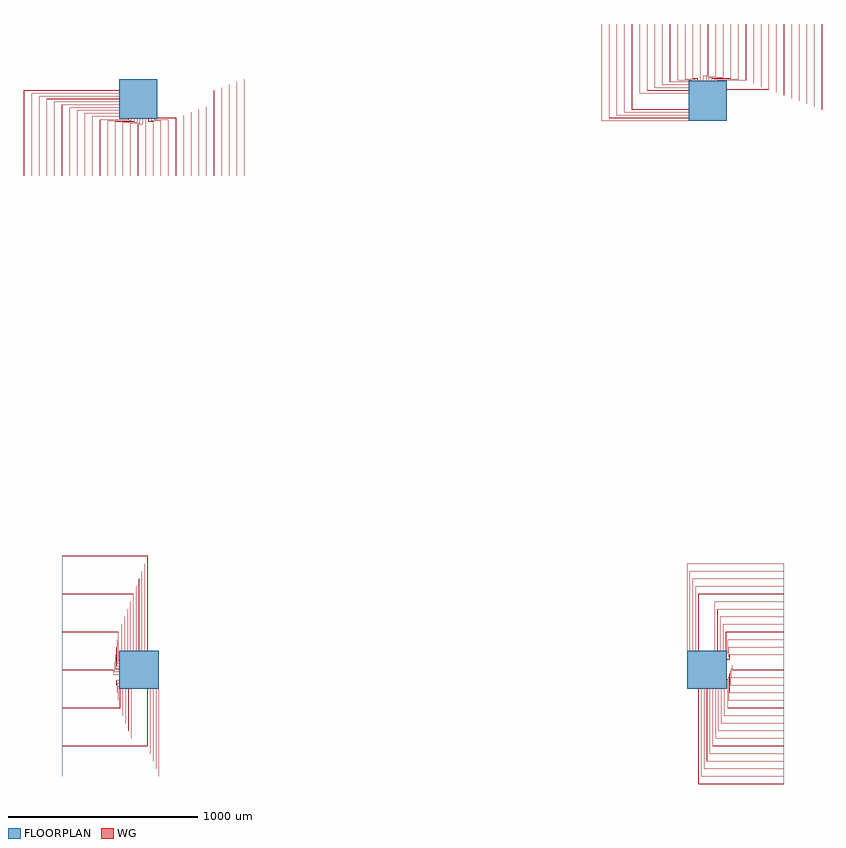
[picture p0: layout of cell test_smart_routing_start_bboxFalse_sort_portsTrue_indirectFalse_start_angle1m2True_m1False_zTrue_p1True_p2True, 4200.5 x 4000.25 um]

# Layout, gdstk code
import gdstk
lib = gdstk.Library(unit=1e-6, precision=1e-09)
def R(c, l, rs):  # rectangles x0, y0, x1, y1
    for r in rs: c.add(gdstk.rectangle(r[:2], r[2:], *l))
def P(c, l, *ps):  # polygons
    for p in ps: c.add(gdstk.Polygon(p, *l))
WG = (1, 0)
FLOORPLAN = (10, 0)

test_smart_routing_start = lib.new_cell('test_smart_routing_start_bboxFalse_sort_portsTrue_indirectFalse_start_angle1m2True_m1False_zTrue_p1True_p2True')
R(test_smart_routing_start, WG, [(-400,-40.25,-100,-40.05), (-400,-39.95,-100,-39.75), (3100,39.75,3400,39.95), (3100,40.05,3400,40.25), (39.75,2600,39.95,2900), (40.05,2600,40.25,2900), (2959.75,3100,2959.95,3400), (2960.05,3100,2960.25,3400)])
P(test_smart_routing_start, WG, [(3100,2950.05),(3100,2950.25),(3599.75,2950.25),(3599.75,3400),(3599.95,3400),(3599.95,2950.05)],
  [(3100,2949.75),(3100,2949.95),(3600.05,2949.95),(3600.05,3400),(3600.25,3400),(3600.25,2949.75)],
  [(3100,2965.05),(3100,2965.25),(3559.75,2965.25),(3559.75,3400),(3559.95,3400),(3559.95,2965.05)],
  [(3100,2964.75),(3100,2964.95),(3560.05,2964.95),(3560.05,3400),(3560.25,3400),(3560.25,2964.75)],
  [(3100,2980.05),(3100,2980.25),(3519.75,2980.25),(3519.75,3400),(3519.95,3400),(3519.95,2980.05)],
  [(3100,2979.75),(3100,2979.95),(3520.05,2979.95),(3520.05,3400),(3520.25,3400),(3520.25,2979.75)],
  [(3100,2995.05),(3100,2995.25),(3479.75,2995.25),(3479.75,3400),(3479.95,3400),(3479.95,2995.05)],
  [(3100,2994.75),(3100,2994.95),(3480.05,2994.95),(3480.05,3400),(3480.25,3400),(3480.25,2994.75)],
  [(3100,3010.05),(3100,3010.25),(3439.75,3010.25),(3439.75,3400),(3439.95,3400),(3439.95,3010.05)],
  [(3100,3009.75),(3100,3009.95),(3440.05,3009.95),(3440.05,3400),(3440.25,3400),(3440.25,3009.75)],
  [(3100,3025.05),(3100,3025.25),(3399.75,3025.25),(3399.75,3400),(3399.95,3400),(3399.95,3025.05)],
  [(3100,3024.75),(3100,3024.95),(3400.05,3024.95),(3400.05,3400),(3400.25,3400),(3400.25,3024.75)],
  [(3100,3040.05),(3100,3040.25),(3359.75,3040.25),(3359.75,3400),(3359.95,3400),(3359.95,3040.05)],
  [(3100,3039.75),(3100,3039.95),(3360.05,3039.95),(3360.05,3400),(3360.25,3400),(3360.25,3039.75)],
  [(3100,3055.05),(3100,3055.25),(3319.75,3055.25),(3319.75,3400),(3319.95,3400),(3319.95,3055.05)],
  [(3100,3054.75),(3100,3054.95),(3320.05,3054.95),(3320.05,3400),(3320.25,3400),(3320.25,3054.75)],
  [(3100,3070.05),(3100,3070.25),(3279.75,3070.25),(3279.75,3400),(3279.95,3400),(3279.95,3070.05)],
  [(3100,3069.75),(3100,3069.95),(3280.05,3069.95),(3280.05,3400),(3280.25,3400),(3280.25,3069.75)],
  [(3100,3085.05),(3100,3085.25),(3239.75,3085.25),(3239.75,3400),(3239.95,3400),(3239.95,3085.05)],
  [(3100,3084.75),(3100,3084.95),(3240.05,3084.95),(3240.05,3400),(3240.25,3400),(3240.25,3084.75)],
  [(3049.75,3100),(3049.75,3104.5),(3199.75,3104.5),(3199.75,3400),(3199.95,3400),(3199.95,3104.3),(3049.95,3104.3),(3049.95,3100)],
  [(3050.05,3100),(3050.05,3104.2),(3200.05,3104.2),(3200.05,3400),(3200.25,3400),(3200.25,3104),(3050.25,3104),(3050.25,3100)],
  [(3034.75,3100),(3034.75,3109),(3159.75,3109),(3159.75,3400),(3159.95,3400),(3159.95,3108.8),(3034.95,3108.8),(3034.95,3100)],
  [(3035.05,3100),(3035.05,3108.7),(3160.05,3108.7),(3160.05,3400),(3160.25,3400),(3160.25,3108.5),(3035.25,3108.5),(3035.25,3100)],
  [(3019.75,3100),(3019.75,3113.5),(3119.75,3113.5),(3119.75,3400),(3119.95,3400),(3119.95,3113.3),(3019.95,3113.3),(3019.95,3100)],
  [(3020.05,3100),(3020.05,3113.2),(3120.05,3113.2),(3120.05,3400),(3120.25,3400),(3120.25,3113),(3020.25,3113),(3020.25,3100)],
  [(3004.75,3100),(3004.75,3118),(3079.75,3118),(3079.75,3400),(3079.95,3400),(3079.95,3117.8),(3004.95,3117.8),(3004.95,3100)],
  [(3005.05,3100),(3005.05,3117.7),(3080.05,3117.7),(3080.05,3400),(3080.25,3400),(3080.25,3117.5),(3005.25,3117.5),(3005.25,3100)],
  [(2989.75,3100),(2989.75,3122.5),(3039.75,3122.5),(3039.75,3400),(3039.95,3400),(3039.95,3122.3),(2989.95,3122.3),(2989.95,3100)],
  [(2990.05,3100),(2990.05,3122.2),(3040.05,3122.2),(3040.05,3400),(3040.25,3400),(3040.25,3122),(2990.25,3122),(2990.25,3100)],
  [(2974.75,3100),(2974.75,3127),(2999.75,3127),(2999.75,3400),(2999.95,3400),(2999.95,3126.8),(2974.95,3126.8),(2974.95,3100)],
  [(2975.05,3100),(2975.05,3126.7),(3000.05,3126.7),(3000.05,3400),(3000.25,3400),(3000.25,3126.5),(2975.25,3126.5),(2975.25,3100)],
  [(2944.75,3100),(2944.75,3113),(2919.75,3113),(2919.75,3400),(2919.95,3400),(2919.95,3113.2),(2944.95,3113.2),(2944.95,3100)],
  [(2945.05,3100),(2945.05,3113.3),(2920.05,3113.3),(2920.05,3400),(2920.25,3400),(2920.25,3113.5),(2945.25,3113.5),(2945.25,3100)],
  [(2929.75,3100),(2929.75,3108.5),(2879.75,3108.5),(2879.75,3400),(2879.95,3400),(2879.95,3108.7),(2929.95,3108.7),(2929.95,3100)],
  [(2930.05,3100),(2930.05,3108.8),(2880.05,3108.8),(2880.05,3400),(2880.25,3400),(2880.25,3109),(2930.25,3109),(2930.25,3100)],
  [(2914.75,3100),(2914.75,3104),(2839.75,3104),(2839.75,3400),(2839.95,3400),(2839.95,3104.2),(2914.95,3104.2),(2914.95,3100)],
  [(2915.05,3100),(2915.05,3104.3),(2840.05,3104.3),(2840.05,3400),(2840.25,3400),(2840.25,3104.5),(2915.25,3104.5),(2915.25,3100)],
  [(2799.75,3094.75),(2799.75,3400),(2799.95,3400),(2799.95,3094.95),(2900,3094.95),(2900,3094.75)],
  [(2800.05,3095.05),(2800.05,3400),(2800.25,3400),(2800.25,3095.25),(2900,3095.25),(2900,3095.05)],
  [(2759.75,3079.75),(2759.75,3400),(2759.95,3400),(2759.95,3079.95),(2900,3079.95),(2900,3079.75)],
  [(2760.05,3080.05),(2760.05,3400),(2760.25,3400),(2760.25,3080.25),(2900,3080.25),(2900,3080.05)],
  [(2719.75,3064.75),(2719.75,3400),(2719.95,3400),(2719.95,3064.95),(2900,3064.95),(2900,3064.75)],
  [(2720.05,3065.05),(2720.05,3400),(2720.25,3400),(2720.25,3065.25),(2900,3065.25),(2900,3065.05)],
  [(2679.75,3049.75),(2679.75,3400),(2679.95,3400),(2679.95,3049.95),(2900,3049.95),(2900,3049.75)],
  [(2680.05,3050.05),(2680.05,3400),(2680.25,3400),(2680.25,3050.25),(2900,3050.25),(2900,3050.05)],
  [(2639.75,3034.75),(2639.75,3400),(2639.95,3400),(2639.95,3034.95),(2900,3034.95),(2900,3034.75)],
  [(2640.05,3035.05),(2640.05,3400),(2640.25,3400),(2640.25,3035.25),(2900,3035.25),(2900,3035.05)],
  [(2599.75,2949.75),(2599.75,3400),(2599.95,3400),(2599.95,2949.95),(2900,2949.95),(2900,2949.75)],
  [(2600.05,2950.05),(2600.05,3400),(2600.25,3400),(2600.25,2950.25),(2900,2950.25),(2900,2950.05)],
  [(2559.75,2934.75),(2559.75,3400),(2559.95,3400),(2559.95,2934.95),(2900,2934.95),(2900,2934.75)],
  [(2560.05,2935.05),(2560.05,3400),(2560.25,3400),(2560.25,2935.25),(2900,2935.25),(2900,2935.05)],
  [(2519.75,2919.75),(2519.75,3400),(2519.95,3400),(2519.95,2919.95),(2900,2919.95),(2900,2919.75)],
  [(2520.05,2920.05),(2520.05,3400),(2520.25,3400),(2520.25,2920.25),(2900,2920.25),(2900,2920.05)],
  [(2479.75,2904.75),(2479.75,3400),(2479.95,3400),(2479.95,2904.95),(2900,2904.95),(2900,2904.75)],
  [(2480.05,2905.05),(2480.05,3400),(2480.25,3400),(2480.25,2905.25),(2900,2905.25),(2900,2905.05)],
  [(2439.75,2889.75),(2439.75,3400),(2439.95,3400),(2439.95,2889.95),(2900,2889.95),(2900,2889.75)],
  [(2440.05,2890.05),(2440.05,3400),(2440.25,3400),(2440.25,2890.25),(2900,2890.25),(2900,2890.05)],
  [(-599.95,2600),(-599.95,3049.95),(-100,3049.95),(-100,3049.75),(-599.75,3049.75),(-599.75,2600)],
  [(-600.25,2600),(-600.25,3050.25),(-100,3050.25),(-100,3050.05),(-600.05,3050.05),(-600.05,2600)],
  [(-559.95,2600),(-559.95,3034.95),(-100,3034.95),(-100,3034.75),(-559.75,3034.75),(-559.75,2600)],
  [(-560.25,2600),(-560.25,3035.25),(-100,3035.25),(-100,3035.05),(-560.05,3035.05),(-560.05,2600)],
  [(-519.95,2600),(-519.95,3019.95),(-100,3019.95),(-100,3019.75),(-519.75,3019.75),(-519.75,2600)],
  [(-520.25,2600),(-520.25,3020.25),(-100,3020.25),(-100,3020.05),(-520.05,3020.05),(-520.05,2600)],
  [(-479.95,2600),(-479.95,3004.95),(-100,3004.95),(-100,3004.75),(-479.75,3004.75),(-479.75,2600)],
  [(-480.25,2600),(-480.25,3005.25),(-100,3005.25),(-100,3005.05),(-480.05,3005.05),(-480.05,2600)],
  [(-439.95,2600),(-439.95,2989.95),(-100,2989.95),(-100,2989.75),(-439.75,2989.75),(-439.75,2600)],
  [(-440.25,2600),(-440.25,2990.25),(-100,2990.25),(-100,2990.05),(-440.05,2990.05),(-440.05,2600)],
  [(-399.95,2600),(-399.95,2974.95),(-100,2974.95),(-100,2974.75),(-399.75,2974.75),(-399.75,2600)],
  [(-400.25,2600),(-400.25,2975.25),(-100,2975.25),(-100,2975.05),(-400.05,2975.05),(-400.05,2600)],
  [(-359.95,2600),(-359.95,2959.95),(-100,2959.95),(-100,2959.75),(-359.75,2959.75),(-359.75,2600)],
  [(-360.25,2600),(-360.25,2960.25),(-100,2960.25),(-100,2960.05),(-360.05,2960.05),(-360.05,2600)],
  [(-319.95,2600),(-319.95,2944.95),(-100,2944.95),(-100,2944.75),(-319.75,2944.75),(-319.75,2600)],
  [(-320.25,2600),(-320.25,2945.25),(-100,2945.25),(-100,2945.05),(-320.05,2945.05),(-320.05,2600)],
  [(-279.95,2600),(-279.95,2929.95),(-100,2929.95),(-100,2929.75),(-279.75,2929.75),(-279.75,2600)],
  [(-280.25,2600),(-280.25,2930.25),(-100,2930.25),(-100,2930.05),(-280.05,2930.05),(-280.05,2600)],
  [(-239.95,2600),(-239.95,2914.95),(-100,2914.95),(-100,2914.75),(-239.75,2914.75),(-239.75,2600)],
  [(-240.25,2600),(-240.25,2915.25),(-100,2915.25),(-100,2915.05),(-240.05,2915.05),(-240.05,2600)],
  [(-200.25,2600),(-200.25,2896),(-50.25,2896),(-50.25,2900),(-50.05,2900),(-50.05,2895.8),(-200.05,2895.8),(-200.05,2600)],
  [(-199.95,2600),(-199.95,2895.7),(-49.95,2895.7),(-49.95,2900),(-49.75,2900),(-49.75,2895.5),(-199.75,2895.5),(-199.75,2600)],
  [(-160.25,2600),(-160.25,2891.5),(-35.25,2891.5),(-35.25,2900),(-35.05,2900),(-35.05,2891.3),(-160.05,2891.3),(-160.05,2600)],
  [(-159.95,2600),(-159.95,2891.2),(-34.95,2891.2),(-34.95,2900),(-34.75,2900),(-34.75,2891),(-159.75,2891),(-159.75,2600)],
  [(-120.25,2600),(-120.25,2887),(-20.25,2887),(-20.25,2900),(-20.05,2900),(-20.05,2886.8),(-120.05,2886.8),(-120.05,2600)],
  [(-119.95,2600),(-119.95,2886.7),(-19.95,2886.7),(-19.95,2900),(-19.75,2900),(-19.75,2886.5),(-119.75,2886.5),(-119.75,2600)],
  [(-80.25,2600),(-80.25,2882.5),(-5.25,2882.5),(-5.25,2900),(-5.05,2900),(-5.05,2882.3),(-80.05,2882.3),(-80.05,2600)],
  [(-79.95,2600),(-79.95,2882.2),(-4.95,2882.2),(-4.95,2900),(-4.75,2900),(-4.75,2882),(-79.75,2882),(-79.75,2600)],
  [(-40.25,2600),(-40.25,2878),(9.75,2878),(9.75,2900),(9.95,2900),(9.95,2877.8),(-40.05,2877.8),(-40.05,2600)],
  [(-39.95,2600),(-39.95,2877.7),(10.05,2877.7),(10.05,2900),(10.25,2900),(10.25,2877.5),(-39.75,2877.5),(-39.75,2600)],
  [(-0.25,2600),(-0.25,2873.5),(24.75,2873.5),(24.75,2900),(24.95,2900),(24.95,2873.3),(-0.05,2873.3),(-0.05,2600)],
  [(0.05,2600),(0.05,2873.2),(25.05,2873.2),(25.05,2900),(25.25,2900),(25.25,2873),(0.25,2873),(0.25,2600)],
  [(79.75,2600),(79.75,2886.5),(54.75,2886.5),(54.75,2900),(54.95,2900),(54.95,2886.7),(79.95,2886.7),(79.95,2600)],
  [(80.05,2600),(80.05,2886.8),(55.05,2886.8),(55.05,2900),(55.25,2900),(55.25,2887),(80.25,2887),(80.25,2600)],
  [(119.75,2600),(119.75,2891),(69.75,2891),(69.75,2900),(69.95,2900),(69.95,2891.2),(119.95,2891.2),(119.95,2600)],
  [(120.05,2600),(120.05,2891.3),(70.05,2891.3),(70.05,2900),(70.25,2900),(70.25,2891.5),(120.25,2891.5),(120.25,2600)],
  [(159.75,2600),(159.75,2895.5),(84.75,2895.5),(84.75,2900),(84.95,2900),(84.95,2895.7),(159.95,2895.7),(159.95,2600)],
  [(160.05,2600),(160.05,2895.8),(85.05,2895.8),(85.05,2900),(85.25,2900),(85.25,2896),(160.25,2896),(160.25,2600)],
  [(199.75,2600),(199.75,2904.75),(100,2904.75),(100,2904.95),(199.95,2904.95),(199.95,2600)],
  [(200.05,2600),(200.05,2905.05),(100,2905.05),(100,2905.25),(200.25,2905.25),(200.25,2600)],
  [(239.75,2600),(239.75,2919.75),(100,2919.75),(100,2919.95),(239.95,2919.95),(239.95,2600)],
  [(240.05,2600),(240.05,2920.05),(100,2920.05),(100,2920.25),(240.25,2920.25),(240.25,2600)],
  [(279.75,2600),(279.75,2934.75),(100,2934.75),(100,2934.95),(279.95,2934.95),(279.95,2600)],
  [(280.05,2600),(280.05,2935.05),(100,2935.05),(100,2935.25),(280.25,2935.25),(280.25,2600)],
  [(319.75,2600),(319.75,2949.75),(100,2949.75),(100,2949.95),(319.95,2949.95),(319.95,2600)],
  [(320.05,2600),(320.05,2950.05),(100,2950.05),(100,2950.25),(320.25,2950.25),(320.25,2600)],
  [(359.75,2600),(359.75,2964.75),(100,2964.75),(100,2964.95),(359.95,2964.95),(359.95,2600)],
  [(360.05,2600),(360.05,2965.05),(100,2965.05),(100,2965.25),(360.25,2965.25),(360.25,2600)],
  [(399.75,2600),(399.75,3049.75),(100,3049.75),(100,3049.95),(399.95,3049.95),(399.95,2600)],
  [(400.05,2600),(400.05,3050.05),(100,3050.05),(100,3050.25),(400.25,3050.25),(400.25,2600)],
  [(439.75,2600),(439.75,3064.75),(100,3064.75),(100,3064.95),(439.95,3064.95),(439.95,2600)],
  [(440.05,2600),(440.05,3065.05),(100,3065.05),(100,3065.25),(440.25,3065.25),(440.25,2600)],
  [(479.75,2600),(479.75,3079.75),(100,3079.75),(100,3079.95),(479.95,3079.95),(479.95,2600)],
  [(480.05,2600),(480.05,3080.05),(100,3080.05),(100,3080.25),(480.25,3080.25),(480.25,2600)],
  [(519.75,2600),(519.75,3094.75),(100,3094.75),(100,3094.95),(519.95,3094.95),(519.95,2600)],
  [(520.05,2600),(520.05,3095.05),(100,3095.05),(100,3095.25),(520.25,3095.25),(520.25,2600)],
  [(559.75,2600),(559.75,3109.75),(100,3109.75),(100,3109.95),(559.95,3109.95),(559.95,2600)],
  [(560.05,2600),(560.05,3110.05),(100,3110.05),(100,3110.25),(560.25,3110.25),(560.25,2600)],
  [(49.75,100),(49.75,599.75),(-400,599.75),(-400,599.95),(49.95,599.95),(49.95,100)],
  [(50.05,100),(50.05,600.05),(-400,600.05),(-400,600.25),(50.25,600.25),(50.25,100)],
  [(34.75,100),(34.75,559.75),(-400,559.75),(-400,559.95),(34.95,559.95),(34.95,100)],
  [(35.05,100),(35.05,560.05),(-400,560.05),(-400,560.25),(35.25,560.25),(35.25,100)],
  [(19.75,100),(19.75,519.75),(-400,519.75),(-400,519.95),(19.95,519.95),(19.95,100)],
  [(20.05,100),(20.05,520.05),(-400,520.05),(-400,520.25),(20.25,520.25),(20.25,100)],
  [(4.75,100),(4.75,479.75),(-400,479.75),(-400,479.95),(4.95,479.95),(4.95,100)],
  [(5.05,100),(5.05,480.05),(-400,480.05),(-400,480.25),(5.25,480.25),(5.25,100)],
  [(-10.25,100),(-10.25,439.75),(-400,439.75),(-400,439.95),(-10.05,439.95),(-10.05,100)],
  [(-9.95,100),(-9.95,440.05),(-400,440.05),(-400,440.25),(-9.75,440.25),(-9.75,100)],
  [(-25.25,100),(-25.25,399.75),(-400,399.75),(-400,399.95),(-25.05,399.95),(-25.05,100)],
  [(-24.95,100),(-24.95,400.05),(-400,400.05),(-400,400.25),(-24.75,400.25),(-24.75,100)],
  [(-40.25,100),(-40.25,359.75),(-400,359.75),(-400,359.95),(-40.05,359.95),(-40.05,100)],
  [(-39.95,100),(-39.95,360.05),(-400,360.05),(-400,360.25),(-39.75,360.25),(-39.75,100)],
  [(-55.25,100),(-55.25,319.75),(-400,319.75),(-400,319.95),(-55.05,319.95),(-55.05,100)],
  [(-54.95,100),(-54.95,320.05),(-400,320.05),(-400,320.25),(-54.75,320.25),(-54.75,100)],
  [(-70.25,100),(-70.25,279.75),(-400,279.75),(-400,279.95),(-70.05,279.95),(-70.05,100)],
  [(-69.95,100),(-69.95,280.05),(-400,280.05),(-400,280.25),(-69.75,280.25),(-69.75,100)],
  [(-85.25,100),(-85.25,239.75),(-400,239.75),(-400,239.95),(-85.05,239.95),(-85.05,100)],
  [(-84.95,100),(-84.95,240.05),(-400,240.05),(-400,240.25),(-84.75,240.25),(-84.75,100)],
  [(-104.5,49.75),(-104.5,199.75),(-400,199.75),(-400,199.95),(-104.3,199.95),(-104.3,49.95),(-100,49.95),(-100,49.75)],
  [(-104.2,50.05),(-104.2,200.05),(-400,200.05),(-400,200.25),(-104,200.25),(-104,50.25),(-100,50.25),(-100,50.05)],
  [(-109,34.75),(-109,159.75),(-400,159.75),(-400,159.95),(-108.8,159.95),(-108.8,34.95),(-100,34.95),(-100,34.75)],
  [(-108.7,35.05),(-108.7,160.05),(-400,160.05),(-400,160.25),(-108.5,160.25),(-108.5,35.25),(-100,35.25),(-100,35.05)],
  [(-113.5,19.75),(-113.5,119.75),(-400,119.75),(-400,119.95),(-113.3,119.95),(-113.3,19.95),(-100,19.95),(-100,19.75)],
  [(-113.2,20.05),(-113.2,120.05),(-400,120.05),(-400,120.25),(-113,120.25),(-113,20.25),(-100,20.25),(-100,20.05)],
  [(-118,4.75),(-118,79.75),(-400,79.75),(-400,79.95),(-117.8,79.95),(-117.8,4.95),(-100,4.95),(-100,4.75)],
  [(-117.7,5.05),(-117.7,80.05),(-400,80.05),(-400,80.25),(-117.5,80.25),(-117.5,5.25),(-100,5.25),(-100,5.05)],
  [(-122.5,-10.25),(-122.5,39.75),(-400,39.75),(-400,39.95),(-122.3,39.95),(-122.3,-10.05),(-100,-10.05),(-100,-10.25)],
  [(-122.2,-9.95),(-122.2,40.05),(-400,40.05),(-400,40.25),(-122,40.25),(-122,-9.75),(-100,-9.75),(-100,-9.95)],
  [(-127,-25.25),(-127,-0.25),(-400,-0.25),(-400,-0.05),(-126.8,-0.05),(-126.8,-25.05),(-100,-25.05),(-100,-25.25)],
  [(-126.7,-24.95),(-126.7,0.05),(-400,0.05),(-400,0.25),(-126.5,0.25),(-126.5,-24.75),(-100,-24.75),(-100,-24.95)],
  [(-400,-80.25),(-400,-80.05),(-113.2,-80.05),(-113.2,-55.05),(-100,-55.05),(-100,-55.25),(-113,-55.25),(-113,-80.25)],
  [(-400,-79.95),(-400,-79.75),(-113.5,-79.75),(-113.5,-54.75),(-100,-54.75),(-100,-54.95),(-113.3,-54.95),(-113.3,-79.95)],
  [(-400,-120.25),(-400,-120.05),(-108.7,-120.05),(-108.7,-70.05),(-100,-70.05),(-100,-70.25),(-108.5,-70.25),(-108.5,-120.25)],
  [(-400,-119.95),(-400,-119.75),(-109,-119.75),(-109,-69.75),(-100,-69.75),(-100,-69.95),(-108.8,-69.95),(-108.8,-119.95)],
  [(-400,-160.25),(-400,-160.05),(-104.2,-160.05),(-104.2,-85.05),(-100,-85.05),(-100,-85.25),(-104,-85.25),(-104,-160.25)],
  [(-400,-159.95),(-400,-159.75),(-104.5,-159.75),(-104.5,-84.75),(-100,-84.75),(-100,-84.95),(-104.3,-84.95),(-104.3,-159.95)],
  [(-400,-199.95),(-400,-199.75),(-95.25,-199.75),(-95.25,-100),(-95.05,-100),(-95.05,-199.95)],
  [(-400,-200.25),(-400,-200.05),(-94.95,-200.05),(-94.95,-100),(-94.75,-100),(-94.75,-200.25)],
  [(-400,-239.95),(-400,-239.75),(-80.25,-239.75),(-80.25,-100),(-80.05,-100),(-80.05,-239.95)],
  [(-400,-240.25),(-400,-240.05),(-79.95,-240.05),(-79.95,-100),(-79.75,-100),(-79.75,-240.25)],
  [(-400,-279.95),(-400,-279.75),(-65.25,-279.75),(-65.25,-100),(-65.05,-100),(-65.05,-279.95)],
  [(-400,-280.25),(-400,-280.05),(-64.95,-280.05),(-64.95,-100),(-64.75,-100),(-64.75,-280.25)],
  [(-400,-319.95),(-400,-319.75),(-50.25,-319.75),(-50.25,-100),(-50.05,-100),(-50.05,-319.95)],
  [(-400,-320.25),(-400,-320.05),(-49.95,-320.05),(-49.95,-100),(-49.75,-100),(-49.75,-320.25)],
  [(-400,-359.95),(-400,-359.75),(-35.25,-359.75),(-35.25,-100),(-35.05,-100),(-35.05,-359.95)],
  [(-400,-360.25),(-400,-360.05),(-34.95,-360.05),(-34.95,-100),(-34.75,-100),(-34.75,-360.25)],
  [(-400,-399.95),(-400,-399.75),(49.75,-399.75),(49.75,-100),(49.95,-100),(49.95,-399.95)],
  [(-400,-400.25),(-400,-400.05),(50.05,-400.05),(50.05,-100),(50.25,-100),(50.25,-400.25)],
  [(-400,-439.95),(-400,-439.75),(64.75,-439.75),(64.75,-100),(64.95,-100),(64.95,-439.95)],
  [(-400,-440.25),(-400,-440.05),(65.05,-440.05),(65.05,-100),(65.25,-100),(65.25,-440.25)],
  [(-400,-479.95),(-400,-479.75),(79.75,-479.75),(79.75,-100),(79.95,-100),(79.95,-479.95)],
  [(-400,-480.25),(-400,-480.05),(80.05,-480.05),(80.05,-100),(80.25,-100),(80.25,-480.25)],
  [(-400,-519.95),(-400,-519.75),(94.75,-519.75),(94.75,-100),(94.95,-100),(94.95,-519.95)],
  [(-400,-520.25),(-400,-520.05),(95.05,-520.05),(95.05,-100),(95.25,-100),(95.25,-520.25)],
  [(-400,-559.95),(-400,-559.75),(109.75,-559.75),(109.75,-100),(109.95,-100),(109.95,-559.95)],
  [(-400,-560.25),(-400,-560.05),(110.05,-560.05),(110.05,-100),(110.25,-100),(110.25,-560.25)],
  [(2949.75,-600.25),(2949.75,-100),(2949.95,-100),(2949.95,-600.05),(3400,-600.05),(3400,-600.25)],
  [(2950.05,-599.95),(2950.05,-100),(2950.25,-100),(2950.25,-599.75),(3400,-599.75),(3400,-599.95)],
  [(2964.75,-560.25),(2964.75,-100),(2964.95,-100),(2964.95,-560.05),(3400,-560.05),(3400,-560.25)],
  [(2965.05,-559.95),(2965.05,-100),(2965.25,-100),(2965.25,-559.75),(3400,-559.75),(3400,-559.95)],
  [(2979.75,-520.25),(2979.75,-100),(2979.95,-100),(2979.95,-520.05),(3400,-520.05),(3400,-520.25)],
  [(2980.05,-519.95),(2980.05,-100),(2980.25,-100),(2980.25,-519.75),(3400,-519.75),(3400,-519.95)],
  [(2994.75,-480.25),(2994.75,-100),(2994.95,-100),(2994.95,-480.05),(3400,-480.05),(3400,-480.25)],
  [(2995.05,-479.95),(2995.05,-100),(2995.25,-100),(2995.25,-479.75),(3400,-479.75),(3400,-479.95)],
  [(3009.75,-440.25),(3009.75,-100),(3009.95,-100),(3009.95,-440.05),(3400,-440.05),(3400,-440.25)],
  [(3010.05,-439.95),(3010.05,-100),(3010.25,-100),(3010.25,-439.75),(3400,-439.75),(3400,-439.95)],
  [(3024.75,-400.25),(3024.75,-100),(3024.95,-100),(3024.95,-400.05),(3400,-400.05),(3400,-400.25)],
  [(3025.05,-399.95),(3025.05,-100),(3025.25,-100),(3025.25,-399.75),(3400,-399.75),(3400,-399.95)],
  [(3039.75,-360.25),(3039.75,-100),(3039.95,-100),(3039.95,-360.05),(3400,-360.05),(3400,-360.25)],
  [(3040.05,-359.95),(3040.05,-100),(3040.25,-100),(3040.25,-359.75),(3400,-359.75),(3400,-359.95)],
  [(3054.75,-320.25),(3054.75,-100),(3054.95,-100),(3054.95,-320.05),(3400,-320.05),(3400,-320.25)],
  [(3055.05,-319.95),(3055.05,-100),(3055.25,-100),(3055.25,-319.75),(3400,-319.75),(3400,-319.95)],
  [(3069.75,-280.25),(3069.75,-100),(3069.95,-100),(3069.95,-280.05),(3400,-280.05),(3400,-280.25)],
  [(3070.05,-279.95),(3070.05,-100),(3070.25,-100),(3070.25,-279.75),(3400,-279.75),(3400,-279.95)],
  [(3084.75,-240.25),(3084.75,-100),(3084.95,-100),(3084.95,-240.05),(3400,-240.05),(3400,-240.25)],
  [(3085.05,-239.95),(3085.05,-100),(3085.25,-100),(3085.25,-239.75),(3400,-239.75),(3400,-239.95)],
  [(3104,-200.25),(3104,-50.25),(3100,-50.25),(3100,-50.05),(3104.2,-50.05),(3104.2,-200.05),(3400,-200.05),(3400,-200.25)],
  [(3104.3,-199.95),(3104.3,-49.95),(3100,-49.95),(3100,-49.75),(3104.5,-49.75),(3104.5,-199.75),(3400,-199.75),(3400,-199.95)],
  [(3108.5,-160.25),(3108.5,-35.25),(3100,-35.25),(3100,-35.05),(3108.7,-35.05),(3108.7,-160.05),(3400,-160.05),(3400,-160.25)],
  [(3108.8,-159.95),(3108.8,-34.95),(3100,-34.95),(3100,-34.75),(3109,-34.75),(3109,-159.75),(3400,-159.75),(3400,-159.95)],
  [(3113,-120.25),(3113,-20.25),(3100,-20.25),(3100,-20.05),(3113.2,-20.05),(3113.2,-120.05),(3400,-120.05),(3400,-120.25)],
  [(3113.3,-119.95),(3113.3,-19.95),(3100,-19.95),(3100,-19.75),(3113.5,-19.75),(3113.5,-119.75),(3400,-119.75),(3400,-119.95)],
  [(3117.5,-80.25),(3117.5,-5.25),(3100,-5.25),(3100,-5.05),(3117.7,-5.05),(3117.7,-80.05),(3400,-80.05),(3400,-80.25)],
  [(3117.8,-79.95),(3117.8,-4.95),(3100,-4.95),(3100,-4.75),(3118,-4.75),(3118,-79.75),(3400,-79.75),(3400,-79.95)],
  [(3122,-40.25),(3122,9.75),(3100,9.75),(3100,9.95),(3122.2,9.95),(3122.2,-40.05),(3400,-40.05),(3400,-40.25)],
  [(3122.3,-39.95),(3122.3,10.05),(3100,10.05),(3100,10.25),(3122.5,10.25),(3122.5,-39.75),(3400,-39.75),(3400,-39.95)],
  [(3126.5,-0.25),(3126.5,24.75),(3100,24.75),(3100,24.95),(3126.7,24.95),(3126.7,-0.05),(3400,-0.05),(3400,-0.25)],
  [(3126.8,0.05),(3126.8,25.05),(3100,25.05),(3100,25.25),(3127,25.25),(3127,0.25),(3400,0.25),(3400,0.05)],
  [(3100,54.75),(3100,54.95),(3113.3,54.95),(3113.3,79.95),(3400,79.95),(3400,79.75),(3113.5,79.75),(3113.5,54.75)],
  [(3100,55.05),(3100,55.25),(3113,55.25),(3113,80.25),(3400,80.25),(3400,80.05),(3113.2,80.05),(3113.2,55.05)],
  [(3100,69.75),(3100,69.95),(3108.8,69.95),(3108.8,119.95),(3400,119.95),(3400,119.75),(3109,119.75),(3109,69.75)],
  [(3100,70.05),(3100,70.25),(3108.5,70.25),(3108.5,120.25),(3400,120.25),(3400,120.05),(3108.7,120.05),(3108.7,70.05)],
  [(3100,84.75),(3100,84.95),(3104.3,84.95),(3104.3,159.95),(3400,159.95),(3400,159.75),(3104.5,159.75),(3104.5,84.75)],
  [(3100,85.05),(3100,85.25),(3104,85.25),(3104,160.25),(3400,160.25),(3400,160.05),(3104.2,160.05),(3104.2,85.05)],
  [(3095.05,100),(3095.05,199.95),(3400,199.95),(3400,199.75),(3095.25,199.75),(3095.25,100)],
  [(3094.75,100),(3094.75,200.25),(3400,200.25),(3400,200.05),(3094.95,200.05),(3094.95,100)],
  [(3080.05,100),(3080.05,239.95),(3400,239.95),(3400,239.75),(3080.25,239.75),(3080.25,100)],
  [(3079.75,100),(3079.75,240.25),(3400,240.25),(3400,240.05),(3079.95,240.05),(3079.95,100)],
  [(3065.05,100),(3065.05,279.95),(3400,279.95),(3400,279.75),(3065.25,279.75),(3065.25,100)],
  [(3064.75,100),(3064.75,280.25),(3400,280.25),(3400,280.05),(3064.95,280.05),(3064.95,100)],
  [(3050.05,100),(3050.05,319.95),(3400,319.95),(3400,319.75),(3050.25,319.75),(3050.25,100)],
  [(3049.75,100),(3049.75,320.25),(3400,320.25),(3400,320.05),(3049.95,320.05),(3049.95,100)],
  [(3035.05,100),(3035.05,359.95),(3400,359.95),(3400,359.75),(3035.25,359.75),(3035.25,100)],
  [(3034.75,100),(3034.75,360.25),(3400,360.25),(3400,360.05),(3034.95,360.05),(3034.95,100)],
  [(2950.05,100),(2950.05,399.95),(3400,399.95),(3400,399.75),(2950.25,399.75),(2950.25,100)],
  [(2949.75,100),(2949.75,400.25),(3400,400.25),(3400,400.05),(2949.95,400.05),(2949.95,100)],
  [(2935.05,100),(2935.05,439.95),(3400,439.95),(3400,439.75),(2935.25,439.75),(2935.25,100)],
  [(2934.75,100),(2934.75,440.25),(3400,440.25),(3400,440.05),(2934.95,440.05),(2934.95,100)],
  [(2920.05,100),(2920.05,479.95),(3400,479.95),(3400,479.75),(2920.25,479.75),(2920.25,100)],
  [(2919.75,100),(2919.75,480.25),(3400,480.25),(3400,480.05),(2919.95,480.05),(2919.95,100)],
  [(2905.05,100),(2905.05,519.95),(3400,519.95),(3400,519.75),(2905.25,519.75),(2905.25,100)],
  [(2904.75,100),(2904.75,520.25),(3400,520.25),(3400,520.05),(2904.95,520.05),(2904.95,100)],
  [(2890.05,100),(2890.05,559.95),(3400,559.95),(3400,559.75),(2890.25,559.75),(2890.25,100)],
  [(2889.75,100),(2889.75,560.25),(3400,560.25),(3400,560.05),(2889.95,560.05),(2889.95,100)])
R(test_smart_routing_start, FLOORPLAN, [(-100,-100,110,100), (2890,-100,3100,100), (2900,2890,3100,3100), (-100,2900,100,3110)])
P(test_smart_routing_start, FLOORPLAN, [(-400,-560),(-400,600),(-400,600),(-400,-560)],
  [(-600,2600),(-600,2600),(560,2600),(560,2600)],
  [(3400,-600),(3400,560),(3400,560),(3400,-600)],
  [(2440,3400),(2440,3400),(3600,3400),(3600,3400)])

lib.write_gds('test_smart_routing_start_bboxFalse_sort_portsTrue_indirectFalse_start_angle1m2True_m1False_zTrue_p1True_p2True.gds')
